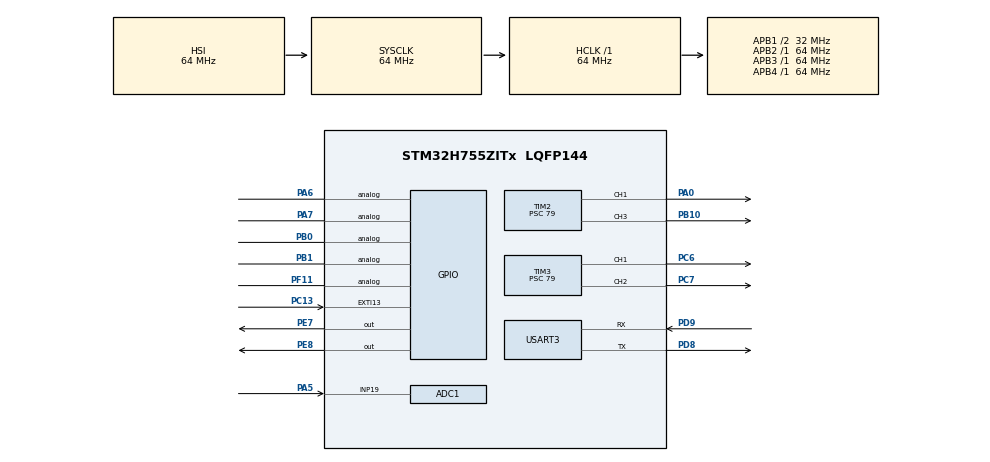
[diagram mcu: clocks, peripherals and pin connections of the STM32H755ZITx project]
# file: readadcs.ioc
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ADC1.Channel-5\#ChannelRegularConversion=ADC_CHANNEL_19
ADC1.ContinuousConvMode=DISABLE
ADC1.ConversionDataManagement=ADC_CONVERSIONDATA_DR
ADC1.EOCSelection=ADC_EOC_SINGLE_CONV
ADC1.NbrOfConversion=1
ADC1.NbrOfConversionFlag=1
ADC1.OffsetNumber-5\#ChannelRegularConversion=ADC_OFFSET_NONE
ADC1.OffsetSignedSaturation-5\#ChannelRegularConversion=DISABLE
ADC1.Rank-5\#ChannelRegularConversion=1
ADC1.Resolution=ADC_RESOLUTION_12B
ADC1.SamplingTime-5\#ChannelRegularConversion=ADC_SAMPLETIME_64CYCLES_5
ADC1.master=1
CortexM4.IPs=FATFS_M4\:I,FREERTOS_M4\:I,IWDG2\:I,RCC,WWDG2\:I,DMA,BDMA,MDMA,NVIC2\:I,USART3,DEBUG,PDM2PCM_M4\:I,PWR,RESMGR_UTILITY,SYS_M4\:I,USB_DEVICE_M4\:I,USB_HOST_M4\:I,CORTEX_M4\:I,GPIO,OPENAMP_M4\:I,VREFBUF,NUCLEO-H755ZI-Q
CortexM7.IPs=FATFS_M7\:I,FREERTOS_M7\:I,IWDG1\:I,RCC\:I,WWDG1\:I,DMA\:I,BDMA\:I,MDMA\:I,NVIC1\:I,USART3\:I,SYS\:I,CORTEX_M7\:I,DEBUG\:I,PDM2PCM_M7\:I,PWR\:I,RESMGR_UTILITY\:I,USB_DEVICE_M7\:I,USB_HOST_M7\:I,GPIO\:I,OPENAMP_M7\:I,VREFBUF\:I,NUCLEO-H755ZI-Q\:I,MEMORYMAP\:I,TIM2\:I,TIM3\:I,TIM1\:I,ADC1\:I,USB_OTG_FS\:I
CortexM7.Pins=PC13,PE7,PE8
Mcu.Family=STM32H7
Mcu.Name=STM32H755ZITx
Mcu.Package=LQFP144
NVIC1.ADC_IRQn=true\:0\:0\:false\:false\:true\:true\:true\:true
NVIC1.EXTI15_10_IRQn=true\:0\:0\:false\:false\:true\:true\:true\:true
NVIC1.PriorityGroup=NVIC_PRIORITYGROUP_4
NVIC2.PriorityGroup=NVIC_PRIORITYGROUP_4
PA0.PinAttribute=CortexM7
PA0.Signal=S_TIM2_CH1_ETR
PA2.Signal=ETH_MDIO
PA5.PinAttribute=CortexM7
PA5.Signal=ADCx_INP19
PA6.PinAttribute=Free
PA6.Signal=GPIO_Analog
PA7.PinAttribute=Free
PA7.Signal=GPIO_Analog
PA8.PinAttribute=CortexM7
PA8.Signal=USB_OTG_FS_SOF
PA9.PinAttribute=CortexM7
PA9.Signal=USB_OTG_FS_VBUS
PB0.PinAttribute=Free
PB0.Signal=GPIO_Analog
PB1.PinAttribute=Free
PB1.Signal=GPIO_Analog
PB10.PinAttribute=CortexM7
PB10.Signal=S_TIM2_CH3
PB13.Signal=ETH_TXD1
PC13.GPIO_ModeDefaultEXTI=GPIO_MODE_IT_FALLING
PC13.GPIO_PuPd=GPIO_PULLUP
PC13.PinAttribute=CortexM7
PC13.Signal=GPXTI13
PC4.Signal=ETH_RXD0
PC5.Signal=ETH_RXD1
PC6.PinAttribute=CortexM7
PC6.Signal=S_TIM3_CH1
PC7.PinAttribute=CortexM7
PC7.Signal=S_TIM3_CH2
PD8.Mode=Asynchronous
PD8.PinAttribute=CortexM7
PD8.Signal=USART3_TX
PD9.Mode=Asynchronous
PD9.PinAttribute=CortexM7
PD9.Signal=USART3_RX
PE7.PinAttribute=CortexM7
PE7.Signal=GPIO_Output
PE8.PinAttribute=CortexM7
PE8.Signal=GPIO_Output
PF11.PinAttribute=Free
PF11.Signal=GPIO_Analog
PG11.Signal=ETH_TX_EN
PG13.Signal=ETH_TXD0
ProjectManager.HeapSize=M4-0x200,M7-0x200
ProjectManager.StackSize=M4-0x400,M7-0x400
ProjectManager.TargetToolchain=STM32CubeIDE
RCC.ADCFreq_Value=80000000
RCC.APB1Freq_Value=32000000
RCC.APB2Freq_Value=64000000
RCC.APB3Freq_Value=64000000
RCC.APB4Freq_Value=64000000
RCC.CortexFreq_Value=64000000
RCC.D2PPRE1=RCC_APB1_DIV2
RCC.DIVM1=5
RCC.DIVM2=4
RCC.DIVN1=48
RCC.DIVN2=10
RCC.DIVQ1=5
RCC.HCLKFreq_Value=64000000
RCC.PLL2FRACN=0
RCC.PLL3FRACN=0
RCC.PLLFRACN=0
RCC.SYSCLKFreq_VALUE=64000000
RCC.SupplySource=PWR_DIRECT_SMPS_SUPPLY
RCC.USBFreq_Value=122880000
SH.ADCx_INP19.0=ADC1_INP19,IN19-Single-Ended
SH.S_TIM2_CH1_ETR.0=TIM2_CH1,PWM Generation1 CH1
SH.S_TIM2_CH3.0=TIM2_CH3,PWM Generation3 CH3
SH.S_TIM3_CH1.0=TIM3_CH1,PWM Generation1 CH1
SH.S_TIM3_CH2.0=TIM3_CH2,PWM Generation2 CH2
TIM1.Prescaler=72-1
TIM2.Channel-PWM\ Generation1\ CH1=TIM_CHANNEL_1
TIM2.Channel-PWM\ Generation3\ CH3=TIM_CHANNEL_3
TIM2.Period=999
TIM2.Prescaler=79
TIM3.Channel-PWM\ Generation1\ CH1=TIM_CHANNEL_1
TIM3.Channel-PWM\ Generation2\ CH2=TIM_CHANNEL_2
TIM3.Period=999
TIM3.Prescaler=79
USART3.VirtualMode-Asynchronous=VM_ASYNC
VP_MEMORYMAP_VS_MEMORYMAP.Mode=CurAppReg
VP_SYS_M4_VS_Systick.Mode=SysTick
VP_TIM1_VS_ClockSourceINT.Mode=Internal
board=NUCLEO-H755ZI-Q

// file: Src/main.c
/* USER CODE BEGIN Header */
/**
 ******************************************************************************
 * @file           : main.c
 * @brief          : Main program body
 ******************************************************************************
 * @attention
 *
 * Copyright (c) 2025 STMicroelectronics.
 * All rights reserved.
 *
 * This software is licensed under terms that can be found in the LICENSE file
 * in the root directory of this software component.
 * If no LICENSE file comes with this software, it is provided AS-IS.
 *
 ******************************************************************************
 */
/* USER CODE END Header */
#include "main.h"

/* USER CODE BEGIN Includes */
#include "string.h"
#include "stdio.h"
/* USER CODE END Includes */

/* USER CODE BEGIN PD */

#ifndef HSEM_ID_0
#define HSEM_ID_0 (0U) /* HW semaphore 0*/
#endif

/* USER CODE END PD */

ADC_HandleTypeDef hadc1;

TIM_HandleTypeDef htim1;
TIM_HandleTypeDef htim2;
TIM_HandleTypeDef htim3;

UART_HandleTypeDef huart3;

void SystemClock_Config(void);
static void MX_GPIO_Init(void);
static void MX_TIM2_Init(void);
static void MX_USART3_UART_Init(void);
static void MX_TIM3_Init(void);
static void MX_TIM1_Init(void);
static void MX_ADC1_Init(void);
/* USER CODE BEGIN PFP */
void setMotorA(int speed);
void setMotorB(int speed);
void motorDrive(int left, int right);

/* USER CODE END PFP */

/* USER CODE BEGIN 0 */

#define IR_THRESHOLD_BLACK 1240  // Abaixo de 1.3V = preto
#define IR_THRESHOLD_WHITE 3102  // Acima de 4.7 = branco
#define SENSOR_COUNT 5
#define MAX_SENSOR_VALUE 4095
#define MIN_SENSOR_VALUE 819

// Motor A

// Motor B

/* Uart3 */

uint32_t sensorValues[SENSOR_COUNT] = {0};
uint32_t sensorChannels[SENSOR_COUNT] = {
    ADC_CHANNEL_3,  // PA6 - IR1
    ADC_CHANNEL_19,  // PA5 - IR2
    ADC_CHANNEL_9,  // PB0 - IR3
    ADC_CHANNEL_5,  // PB1 - IR4
    ADC_CHANNEL_2   // PF11 - IR5
};
uint8_t last_button_state = 1;  // PC13 normalmente está em HIGH quando não pressionado
uint32_t debounce_delay_ms = 50;

uint8_t toggle_flag = 1;
// PID
float Kp = 0.5, Ki = 0.0, Kd = 0.3;
int P = 0, I = 0, D = 0;
int error = 0, previousError = 0;
float PIDvalue = 0;
int baseSpeed =200;

/*___TCS___*/
 uint32_t last_capture = 0;
 uint32_t frequency = 0;
 uint32_t last_print_freq = 0;
 uint8_t new_freq_ready = 0;

int __io_putchar(int ch) {
    HAL_UART_Transmit(&huart3, (uint8_t *)&ch, 1, HAL_MAX_DELAY);
    return ch;
}
void readSensors(void) {
    ADC_ChannelConfTypeDef sConfig = {0};

    for (int i = 0; i < SENSOR_COUNT; i++) {
        sConfig.Channel = sensorChannels[i];  // ← usa sua lista correta
        sConfig.Rank = ADC_REGULAR_RANK_1;
        sConfig.SamplingTime = ADC_SAMPLETIME_64CYCLES_5;  // ou 247 se usar LDR
        sConfig.SingleDiff = ADC_SINGLE_ENDED;
        sConfig.OffsetNumber = ADC_OFFSET_NONE;
        sConfig.Offset = 0;

        if (HAL_ADC_ConfigChannel(&hadc1, &sConfig) != HAL_OK) {
            Error_Handler();
        }

        HAL_ADC_Start(&hadc1);

        if (HAL_ADC_PollForConversion(&hadc1, 10) == HAL_OK) {
            sensorValues[i] = HAL_ADC_GetValue(&hadc1);
        }

        HAL_ADC_Stop(&hadc1);

        // Debug print
       // printf("Sensor %d: valor %lu\r\n", i + 1, sensorValues[i]);
    }
}

uint16_t readLine(void){
  uint32_t weighted_sum = 0;
  uint32_t sum = 0;

  for (int i = 0; i < SENSOR_COUNT; i++)
  {
	  //uint16_t value = MAX_SENSOR_VALUE - sensorValues[i];
	  uint16_t value = sensorValues[i];
	  if ( i ==4 ){
		  value +=700;
	  }

    weighted_sum += (uint32_t)value * (i * 1000);
    sum += value;
  }
 // if (sum < 5000) return 2000;  // linha perdida (valor neutro)*/

  return weighted_sum / sum;
}

void PID_LineFollow(int error)
{
  P = error;
  I += error;
  D = error - previousError;

  PIDvalue = (Kp * P) + (Ki * I) + (Kd * D);
  previousError = error;

  int lsp = baseSpeed - PIDvalue;
  int rsp = baseSpeed + PIDvalue;

  if (lsp > 999) lsp = 999;
  if (lsp < -999) lsp = -999;
  if (rsp > 999) rsp = 999;
  if (rsp < -999) rsp = -999;

  motorDrive(lsp, rsp);
}

void motorDrive(int left, int right)
{
  setMotorA(right);
  setMotorB(left);
}

void setMotorA(int speed)
{
  if (speed >= 0)
  {
      __HAL_TIM_SET_COMPARE(&htim2, TIM_CHANNEL_1, speed);  // RPWM
      __HAL_TIM_SET_COMPARE(&htim2, TIM_CHANNEL_3, 0);      // LPWM
  }
  else
  {
	    speed = -speed;
      __HAL_TIM_SET_COMPARE(&htim2, TIM_CHANNEL_1, 0);      // RPWM
      __HAL_TIM_SET_COMPARE(&htim2, TIM_CHANNEL_3, speed);  // LPWM
  }
}

void setMotorB(int speed) //igual para o motorA
{
  if (speed >= 0)
  {
      __HAL_TIM_SET_COMPARE(&htim3, TIM_CHANNEL_1, speed);  // RPWM
      __HAL_TIM_SET_COMPARE(&htim3, TIM_CHANNEL_2, 0);      // LPWM
  }
  else
  {
	  speed = -speed;
      __HAL_TIM_SET_COMPARE(&htim3, TIM_CHANNEL_1, 0);      // RPWM
      __HAL_TIM_SET_COMPARE(&htim3, TIM_CHANNEL_2, speed);  // LPWM
  }
}

/* USER CODE END 0 */

int main(void)
{

/* USER CODE BEGIN Boot_Mode_Sequence_0 */
	int32_t timeout;
/* USER CODE END Boot_Mode_Sequence_0 */

/* USER CODE BEGIN Boot_Mode_Sequence_1 */
	/* Wait until CPU2 boots and enters in stop mode or timeout*/
	timeout = 0xFFFF;
	while((__HAL_RCC_GET_FLAG(RCC_FLAG_D2CKRDY) != RESET) && (timeout-- > 0));
	if ( timeout < 0 )
	{
		Error_Handler();
	}
/* USER CODE END Boot_Mode_Sequence_1 */
  /* MCU Configuration--------------------------------------------------------*/

  /* Reset of all peripherals, Initializes the Flash interface and the Systick. */
  HAL_Init();

  /* Configure the system clock */
  SystemClock_Config();
/* USER CODE BEGIN Boot_Mode_Sequence_2 */
	/* When system initialization is finished, Cortex-M7 will release Cortex-M4 by means of
HSEM notification */
	/*HW semaphore Clock enable*/
	__HAL_RCC_HSEM_CLK_ENABLE();
	/*Take HSEM */
	HAL_HSEM_FastTake(HSEM_ID_0);
	/*Release HSEM in order to notify the CPU2(CM4)*/
	HAL_HSEM_Release(HSEM_ID_0,0);
	/* wait until CPU2 wakes up from stop mode */
	timeout = 0xFFFF;
	while((__HAL_RCC_GET_FLAG(RCC_FLAG_D2CKRDY) == RESET) && (timeout-- > 0));
	if ( timeout < 0 )
	{
		Error_Handler();
	}
/* USER CODE END Boot_Mode_Sequence_2 */

  /* Initialize all configured peripherals */
  MX_GPIO_Init();
  MX_TIM2_Init();
  MX_USART3_UART_Init();
  MX_TIM3_Init();
  MX_TIM1_Init();
  MX_ADC1_Init();
  /* USER CODE BEGIN 2 */
  HAL_TIM_PWM_Start(&htim2, TIM_CHANNEL_1);  // Motor A - RPWM
  HAL_TIM_PWM_Start(&htim2, TIM_CHANNEL_3);  // Motor A - LPWM

  HAL_TIM_PWM_Start(&htim3, TIM_CHANNEL_1);  // Motor B - RPWM
  HAL_TIM_PWM_Start(&htim3, TIM_CHANNEL_2);  // Motor B - LPWM

  HAL_Delay(100);
  /* USER CODE END 2 */

  /* Infinite loop */
	while (1)
	{

    /* USER CODE BEGIN 3 */
		if (toggle_flag) {
	    readSensors();
	    error = 2000 - readLine();  // linha centrada = 2000
	    PID_LineFollow(error);
	    HAL_Delay(10);
	    }
	    else
	    {
	        motorDrive(0, 0);  // Garante que os motores fiquem parados
	    }
		/*readSensors();
		HAL_Delay(500);*/
	}
  /* USER CODE END 3 */
}

void SystemClock_Config(void)
{
  RCC_OscInitTypeDef RCC_OscInitStruct = {0};
  RCC_ClkInitTypeDef RCC_ClkInitStruct = {0};

  /** Supply configuration update enable
  */
  HAL_PWREx_ConfigSupply(PWR_DIRECT_SMPS_SUPPLY);

  /** Configure the main internal regulator output voltage
  */
  __HAL_PWR_VOLTAGESCALING_CONFIG(PWR_REGULATOR_VOLTAGE_SCALE3);

  while(!__HAL_PWR_GET_FLAG(PWR_FLAG_VOSRDY)) {}

  /** Macro to configure the PLL clock source
  */
  __HAL_RCC_PLL_PLLSOURCE_CONFIG(RCC_PLLSOURCE_HSI);

  /** Initializes the RCC Oscillators according to the specified parameters
  * in the RCC_OscInitTypeDef structure.
  */
  RCC_OscInitStruct.OscillatorType = RCC_OSCILLATORTYPE_HSI;
  RCC_OscInitStruct.HSIState = RCC_HSI_DIV1;
  RCC_OscInitStruct.HSICalibrationValue = RCC_HSICALIBRATION_DEFAULT;
  RCC_OscInitStruct.PLL.PLLState = RCC_PLL_NONE;
  if (HAL_RCC_OscConfig(&RCC_OscInitStruct) != HAL_OK)
  {
    Error_Handler();
  }

  /** Initializes the CPU, AHB and APB buses clocks
  */
  RCC_ClkInitStruct.ClockType = RCC_CLOCKTYPE_HCLK|RCC_CLOCKTYPE_SYSCLK
                              |RCC_CLOCKTYPE_PCLK1|RCC_CLOCKTYPE_PCLK2
                              |RCC_CLOCKTYPE_D3PCLK1|RCC_CLOCKTYPE_D1PCLK1;
  RCC_ClkInitStruct.SYSCLKSource = RCC_SYSCLKSOURCE_HSI;
  RCC_ClkInitStruct.SYSCLKDivider = RCC_SYSCLK_DIV1;
  RCC_ClkInitStruct.AHBCLKDivider = RCC_HCLK_DIV1;
  RCC_ClkInitStruct.APB3CLKDivider = RCC_APB3_DIV1;
  RCC_ClkInitStruct.APB1CLKDivider = RCC_APB1_DIV2;
  RCC_ClkInitStruct.APB2CLKDivider = RCC_APB2_DIV1;
  RCC_ClkInitStruct.APB4CLKDivider = RCC_APB4_DIV1;

  if (HAL_RCC_ClockConfig(&RCC_ClkInitStruct, FLASH_LATENCY_1) != HAL_OK)
  {
    Error_Handler();
  }
}

static void MX_ADC1_Init(void)
{

  ADC_MultiModeTypeDef multimode = {0};
  ADC_ChannelConfTypeDef sConfig = {0};

  /** Common config
  */
  hadc1.Instance = ADC1;
  hadc1.Init.ClockPrescaler = ADC_CLOCK_ASYNC_DIV2;
  hadc1.Init.Resolution = ADC_RESOLUTION_12B;
  hadc1.Init.ScanConvMode = ADC_SCAN_DISABLE;
  hadc1.Init.EOCSelection = ADC_EOC_SINGLE_CONV;
  hadc1.Init.LowPowerAutoWait = DISABLE;
  hadc1.Init.ContinuousConvMode = DISABLE;
  hadc1.Init.NbrOfConversion = 1;
  hadc1.Init.DiscontinuousConvMode = DISABLE;
  hadc1.Init.ExternalTrigConv = ADC_SOFTWARE_START;
  hadc1.Init.ExternalTrigConvEdge = ADC_EXTERNALTRIGCONVEDGE_NONE;
  hadc1.Init.ConversionDataManagement = ADC_CONVERSIONDATA_DR;
  hadc1.Init.Overrun = ADC_OVR_DATA_PRESERVED;
  hadc1.Init.LeftBitShift = ADC_LEFTBITSHIFT_NONE;
  hadc1.Init.OversamplingMode = DISABLE;
  hadc1.Init.Oversampling.Ratio = 1;
  if (HAL_ADC_Init(&hadc1) != HAL_OK)
  {
    Error_Handler();
  }

  /** Configure the ADC multi-mode
  */
  multimode.Mode = ADC_MODE_INDEPENDENT;
  if (HAL_ADCEx_MultiModeConfigChannel(&hadc1, &multimode) != HAL_OK)
  {
    Error_Handler();
  }

  /** Configure Regular Channel
  */
  sConfig.Channel = ADC_CHANNEL_19;
  sConfig.Rank = ADC_REGULAR_RANK_1;
  sConfig.SamplingTime = ADC_SAMPLETIME_64CYCLES_5;
  sConfig.SingleDiff = ADC_SINGLE_ENDED;
  sConfig.OffsetNumber = ADC_OFFSET_NONE;
  sConfig.Offset = 0;
  sConfig.OffsetSignedSaturation = DISABLE;
  if (HAL_ADC_ConfigChannel(&hadc1, &sConfig) != HAL_OK)
  {
    Error_Handler();
  }

}

static void MX_TIM1_Init(void)
{

  TIM_ClockConfigTypeDef sClockSourceConfig = {0};
  TIM_MasterConfigTypeDef sMasterConfig = {0};

  htim1.Instance = TIM1;
  htim1.Init.Prescaler = 72-1;
  htim1.Init.CounterMode = TIM_COUNTERMODE_UP;
  htim1.Init.Period = 65535;
  htim1.Init.ClockDivision = TIM_CLOCKDIVISION_DIV1;
  htim1.Init.RepetitionCounter = 0;
  htim1.Init.AutoReloadPreload = TIM_AUTORELOAD_PRELOAD_DISABLE;
  if (HAL_TIM_Base_Init(&htim1) != HAL_OK)
  {
    Error_Handler();
  }
  sClockSourceConfig.ClockSource = TIM_CLOCKSOURCE_INTERNAL;
  if (HAL_TIM_ConfigClockSource(&htim1, &sClockSourceConfig) != HAL_OK)
  {
    Error_Handler();
  }
  sMasterConfig.MasterOutputTrigger = TIM_TRGO_RESET;
  sMasterConfig.MasterOutputTrigger2 = TIM_TRGO2_RESET;
  sMasterConfig.MasterSlaveMode = TIM_MASTERSLAVEMODE_DISABLE;
  if (HAL_TIMEx_MasterConfigSynchronization(&htim1, &sMasterConfig) != HAL_OK)
  {
    Error_Handler();
  }

}

static void MX_TIM2_Init(void)
{

  TIM_MasterConfigTypeDef sMasterConfig = {0};
  TIM_OC_InitTypeDef sConfigOC = {0};

  htim2.Instance = TIM2;
  htim2.Init.Prescaler = 79;
  htim2.Init.CounterMode = TIM_COUNTERMODE_UP;
  htim2.Init.Period = 999;
  htim2.Init.ClockDivision = TIM_CLOCKDIVISION_DIV1;
  htim2.Init.AutoReloadPreload = TIM_AUTORELOAD_PRELOAD_DISABLE;
  if (HAL_TIM_PWM_Init(&htim2) != HAL_OK)
  {
    Error_Handler();
  }
  sMasterConfig.MasterOutputTrigger = TIM_TRGO_RESET;
  sMasterConfig.MasterSlaveMode = TIM_MASTERSLAVEMODE_DISABLE;
  if (HAL_TIMEx_MasterConfigSynchronization(&htim2, &sMasterConfig) != HAL_OK)
  {
    Error_Handler();
  }
  sConfigOC.OCMode = TIM_OCMODE_PWM1;
  sConfigOC.Pulse = 0;
  sConfigOC.OCPolarity = TIM_OCPOLARITY_HIGH;
  sConfigOC.OCFastMode = TIM_OCFAST_DISABLE;
  if (HAL_TIM_PWM_ConfigChannel(&htim2, &sConfigOC, TIM_CHANNEL_1) != HAL_OK)
  {
    Error_Handler();
  }
  if (HAL_TIM_PWM_ConfigChannel(&htim2, &sConfigOC, TIM_CHANNEL_3) != HAL_OK)
  {
    Error_Handler();
  }
  HAL_TIM_MspPostInit(&htim2);

}

static void MX_TIM3_Init(void)
{

  TIM_MasterConfigTypeDef sMasterConfig = {0};
  TIM_OC_InitTypeDef sConfigOC = {0};

  htim3.Instance = TIM3;
  htim3.Init.Prescaler = 79;
  htim3.Init.CounterMode = TIM_COUNTERMODE_UP;
  htim3.Init.Period = 999;
  htim3.Init.ClockDivision = TIM_CLOCKDIVISION_DIV1;
  htim3.Init.AutoReloadPreload = TIM_AUTORELOAD_PRELOAD_DISABLE;
  if (HAL_TIM_PWM_Init(&htim3) != HAL_OK)
  {
    Error_Handler();
  }
  sMasterConfig.MasterOutputTrigger = TIM_TRGO_RESET;
  sMasterConfig.MasterSlaveMode = TIM_MASTERSLAVEMODE_DISABLE;
  if (HAL_TIMEx_MasterConfigSynchronization(&htim3, &sMasterConfig) != HAL_OK)
  {
    Error_Handler();
  }
  sConfigOC.OCMode = TIM_OCMODE_PWM1;
  sConfigOC.Pulse = 0;
  sConfigOC.OCPolarity = TIM_OCPOLARITY_HIGH;
  sConfigOC.OCFastMode = TIM_OCFAST_DISABLE;
  if (HAL_TIM_PWM_ConfigChannel(&htim3, &sConfigOC, TIM_CHANNEL_1) != HAL_OK)
  {
    Error_Handler();
  }
  if (HAL_TIM_PWM_ConfigChannel(&htim3, &sConfigOC, TIM_CHANNEL_2) != HAL_OK)
  {
    Error_Handler();
  }
  HAL_TIM_MspPostInit(&htim3);

}

static void MX_USART3_UART_Init(void)
{

  huart3.Instance = USART3;
  huart3.Init.BaudRate = 115200;
  huart3.Init.WordLength = UART_WORDLENGTH_8B;
  huart3.Init.StopBits = UART_STOPBITS_1;
  huart3.Init.Parity = UART_PARITY_NONE;
  huart3.Init.Mode = UART_MODE_TX_RX;
  huart3.Init.HwFlowCtl = UART_HWCONTROL_NONE;
  huart3.Init.OverSampling = UART_OVERSAMPLING_16;
  huart3.Init.OneBitSampling = UART_ONE_BIT_SAMPLE_DISABLE;
  huart3.Init.ClockPrescaler = UART_PRESCALER_DIV1;
  huart3.AdvancedInit.AdvFeatureInit = UART_ADVFEATURE_NO_INIT;
  if (HAL_UART_Init(&huart3) != HAL_OK)
  {
    Error_Handler();
  }
  if (HAL_UARTEx_SetTxFifoThreshold(&huart3, UART_TXFIFO_THRESHOLD_1_8) != HAL_OK)
  {
    Error_Handler();
  }
  if (HAL_UARTEx_SetRxFifoThreshold(&huart3, UART_RXFIFO_THRESHOLD_1_8) != HAL_OK)
  {
    Error_Handler();
  }
  if (HAL_UARTEx_DisableFifoMode(&huart3) != HAL_OK)
  {
    Error_Handler();
  }

}

static void MX_GPIO_Init(void)
{
  GPIO_InitTypeDef GPIO_InitStruct = {0};

  /* GPIO Ports Clock Enable */
  __HAL_RCC_GPIOC_CLK_ENABLE();
  __HAL_RCC_GPIOA_CLK_ENABLE();
  __HAL_RCC_GPIOE_CLK_ENABLE();
  __HAL_RCC_GPIOB_CLK_ENABLE();
  __HAL_RCC_GPIOD_CLK_ENABLE();

  /*Configure GPIO pin Output Level */
  HAL_GPIO_WritePin(GPIOE, GPIO_PIN_7|GPIO_PIN_8, GPIO_PIN_RESET);

  /*Configure GPIO pin : PC13 */
  GPIO_InitStruct.Pin = GPIO_PIN_13;
  GPIO_InitStruct.Mode = GPIO_MODE_IT_FALLING;
  GPIO_InitStruct.Pull = GPIO_PULLUP;
  HAL_GPIO_Init(GPIOC, &GPIO_InitStruct);

  /*Configure GPIO pins : PE7 PE8 */
  GPIO_InitStruct.Pin = GPIO_PIN_7|GPIO_PIN_8;
  GPIO_InitStruct.Mode = GPIO_MODE_OUTPUT_PP;
  GPIO_InitStruct.Pull = GPIO_NOPULL;
  GPIO_InitStruct.Speed = GPIO_SPEED_FREQ_LOW;
  HAL_GPIO_Init(GPIOE, &GPIO_InitStruct);

  /*Configure GPIO pin : PA8 */
  GPIO_InitStruct.Pin = GPIO_PIN_8;
  GPIO_InitStruct.Mode = GPIO_MODE_AF_PP;
  GPIO_InitStruct.Pull = GPIO_NOPULL;
  GPIO_InitStruct.Speed = GPIO_SPEED_FREQ_LOW;
  GPIO_InitStruct.Alternate = GPIO_AF10_OTG1_FS;
  HAL_GPIO_Init(GPIOA, &GPIO_InitStruct);

  /* EXTI interrupt init*/
  HAL_NVIC_SetPriority(EXTI15_10_IRQn, 0, 0);
  HAL_NVIC_EnableIRQ(EXTI15_10_IRQn);

}

/* USER CODE BEGIN 4 */
void HAL_GPIO_EXTI_Callback(uint16_t GPIO_Pin)
{
	if (GPIO_Pin == GPIO_PIN_13)
	{
		char msg[] = "Interrupção de captura acionada!\r\n";
		HAL_UART_Transmit(&huart3, (uint8_t*)msg, strlen(msg), HAL_MAX_DELAY);
    			toggle_flag = !toggle_flag;
    			if (toggle_flag)
    			{
    				  HAL_TIM_PWM_Start(&htim2, TIM_CHANNEL_1);  // Motor A - RPWM
    				  HAL_TIM_PWM_Start(&htim2, TIM_CHANNEL_3);  // Motor A - LPWM

    				  HAL_TIM_PWM_Start(&htim3, TIM_CHANNEL_1);  // Motor B - RPWM
    				  HAL_TIM_PWM_Start(&htim3, TIM_CHANNEL_2);  // Motor B - LPWM
    			}
    			else
    			{

    				  HAL_TIM_PWM_Stop(&htim2, TIM_CHANNEL_1);  // Motor A - RPWM
    				  HAL_TIM_PWM_Stop(&htim2, TIM_CHANNEL_3);  // Motor A - LPWM

    				  HAL_TIM_PWM_Stop(&htim3, TIM_CHANNEL_1);  // Motor B - RPWM
    				  HAL_TIM_PWM_Stop(&htim3, TIM_CHANNEL_2);  // Motor B - LPWM
    		}
    	}
}
/*void HAL_TIM_IC_CaptureCallback(TIM_HandleTypeDef *htim)
{
    //if (htim->Instance == TIM4 && htim->Channel == HAL_TIM_ACTIVE_CHANNEL_1)    {

    	printf("Interrupção de captura acionada!\r\n");
        uint32_t current_capture = HAL_TIM_ReadCapturedValue(htim, TIM_CHANNEL_1);
        uint32_t delta;

        if (current_capture >= last_capture)
            delta = current_capture - last_capture;
        else
            delta = (0xFFFF - last_capture + current_capture);

        last_capture = current_capture;

        // Timer com 1 µs por tick → freq = 1.000.000 / delta
        if (delta > 0)
            frequency = 1000000 / delta;
        else
            frequency = 0;
}*/
/* USER CODE END 4 */

void Error_Handler(void)
{
	__disable_irq();
	while (1)
	{
	}
}
